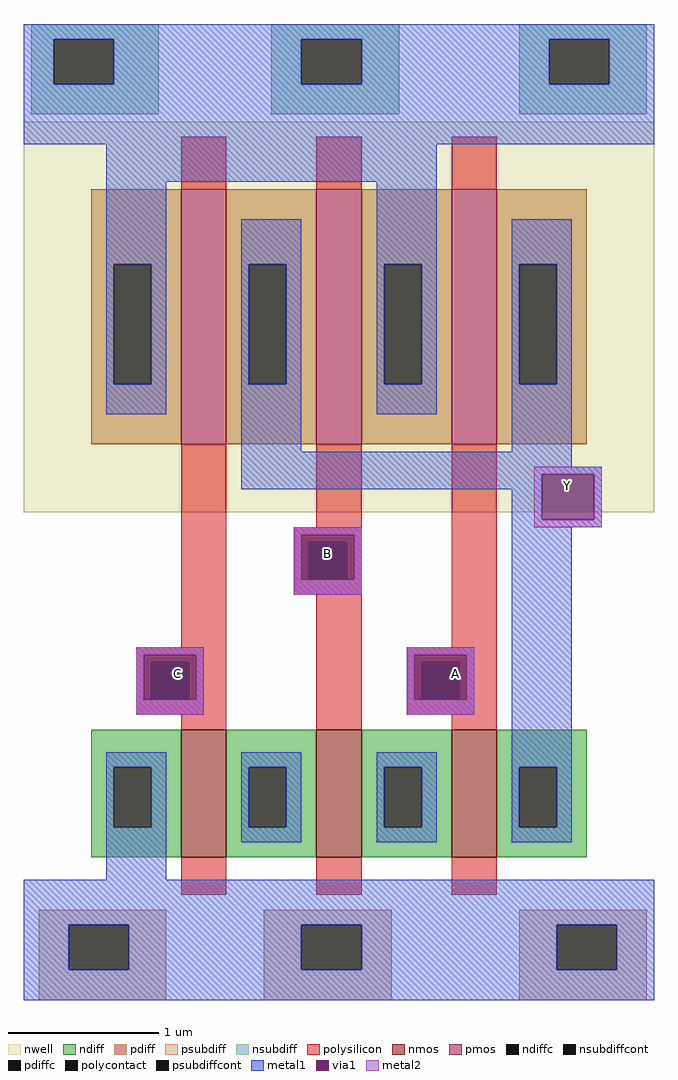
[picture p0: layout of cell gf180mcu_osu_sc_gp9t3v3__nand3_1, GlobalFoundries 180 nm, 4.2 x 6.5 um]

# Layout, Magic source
magic
tech gf180mcuD
<< nwell >>
rect -6 23 78 75
<< nmos >>
rect 15 -23 21 -6
rect 33 -23 39 -6
rect 51 -23 57 -6
<< pmos >>
rect 15 32 21 66
rect 33 32 39 66
rect 51 32 57 66
<< ndiff >>
rect 3 -11 15 -6
rect 3 -19 6 -11
rect 11 -19 15 -11
rect 3 -23 15 -19
rect 21 -11 33 -6
rect 21 -19 24 -11
rect 29 -19 33 -11
rect 21 -23 33 -19
rect 39 -11 51 -6
rect 39 -19 42 -11
rect 47 -19 51 -11
rect 39 -23 51 -19
rect 57 -11 69 -6
rect 57 -19 60 -11
rect 65 -19 69 -11
rect 57 -23 69 -19
<< pdiff >>
rect 3 56 15 66
rect 3 40 6 56
rect 11 40 15 56
rect 3 32 15 40
rect 21 56 33 66
rect 21 40 24 56
rect 29 40 33 56
rect 21 32 33 40
rect 39 56 51 66
rect 39 40 42 56
rect 47 40 51 56
rect 39 32 51 40
rect 57 56 69 66
rect 57 40 60 56
rect 65 40 69 56
rect 57 32 69 40
<< ndiffc >>
rect 6 -19 11 -11
rect 24 -19 29 -11
rect 42 -19 47 -11
rect 60 -19 65 -11
<< pdiffc >>
rect 6 40 11 56
rect 24 40 29 56
rect 42 40 47 56
rect 60 40 65 56
<< psubdiff >>
rect -4 -32 13 -30
rect -4 -38 0 -32
rect 8 -38 13 -32
rect -4 -42 13 -38
rect 26 -32 43 -30
rect 26 -38 31 -32
rect 39 -38 43 -32
rect 26 -42 43 -38
rect 60 -32 77 -30
rect 60 -38 65 -32
rect 73 -38 77 -32
rect 60 -42 77 -38
<< nsubdiff >>
rect -5 86 12 88
rect -5 80 -2 86
rect 6 80 12 86
rect -5 76 12 80
rect 27 86 44 88
rect 27 80 31 86
rect 39 80 44 86
rect 27 76 44 80
rect 60 86 77 88
rect 60 80 64 86
rect 72 80 77 86
rect 60 76 77 80
<< psubdiffcont >>
rect 0 -38 8 -32
rect 31 -38 39 -32
rect 65 -38 73 -32
<< nsubdiffcont >>
rect -2 80 6 86
rect 31 80 39 86
rect 64 80 72 86
<< polysilicon >>
rect 15 66 21 73
rect 33 66 39 73
rect 51 66 57 73
rect 15 5 21 32
rect 33 21 39 32
rect 30 19 39 21
rect 30 14 32 19
rect 37 14 39 19
rect 30 12 39 14
rect 9 3 21 5
rect 9 -2 11 3
rect 16 -2 21 3
rect 9 -4 21 -2
rect 15 -6 21 -4
rect 33 -6 39 12
rect 51 5 57 32
rect 45 3 57 5
rect 45 -2 47 3
rect 52 -2 57 3
rect 45 -4 57 -2
rect 51 -6 57 -4
rect 15 -28 21 -23
rect 33 -28 39 -23
rect 51 -28 57 -23
<< polycontact >>
rect 32 14 37 19
rect 11 -2 16 3
rect 47 -2 52 3
<< metal1 >>
rect -6 86 78 88
rect -6 80 -2 86
rect 6 80 31 86
rect 39 80 64 86
rect 72 80 78 86
rect -6 72 78 80
rect 5 67 49 72
rect 5 56 13 67
rect 5 40 6 56
rect 11 40 13 56
rect 5 36 13 40
rect 23 56 31 62
rect 23 40 24 56
rect 29 40 31 56
rect 23 31 31 40
rect 41 56 49 67
rect 41 40 42 56
rect 47 40 49 56
rect 41 36 49 40
rect 59 56 67 62
rect 59 40 60 56
rect 65 40 67 56
rect 59 31 67 40
rect 23 29 67 31
rect 23 28 71 29
rect 23 26 63 28
rect 59 22 63 26
rect 70 22 71 28
rect 59 21 71 22
rect 30 20 39 21
rect 30 14 31 20
rect 38 14 39 20
rect 30 12 39 14
rect 9 4 18 5
rect 9 -2 10 4
rect 17 -2 18 4
rect 9 -4 18 -2
rect 45 4 54 5
rect 45 -2 46 4
rect 53 -2 54 4
rect 45 -4 54 -2
rect 5 -11 13 -9
rect 5 -19 6 -11
rect 11 -19 13 -11
rect 5 -26 13 -19
rect 23 -11 31 -9
rect 23 -19 24 -11
rect 29 -19 31 -11
rect 23 -21 31 -19
rect 41 -11 49 -9
rect 41 -19 42 -11
rect 47 -19 49 -11
rect 41 -21 49 -19
rect 59 -11 67 21
rect 59 -19 60 -11
rect 65 -19 67 -11
rect 59 -21 67 -19
rect -6 -32 78 -26
rect -6 -38 0 -32
rect 8 -38 31 -32
rect 39 -38 65 -32
rect 73 -38 78 -32
rect -6 -42 78 -38
<< via1 >>
rect 63 22 70 28
rect 31 19 38 20
rect 31 14 32 19
rect 32 14 37 19
rect 37 14 38 19
rect 10 3 17 4
rect 10 -2 11 3
rect 11 -2 16 3
rect 16 -2 17 3
rect 46 3 53 4
rect 46 -2 47 3
rect 47 -2 52 3
rect 52 -2 53 3
<< metal2 >>
rect 62 28 71 29
rect 62 22 63 28
rect 70 22 71 28
rect 62 21 71 22
rect 30 20 39 21
rect 30 14 31 20
rect 38 14 39 20
rect 30 12 39 14
rect 9 4 18 5
rect 9 -2 10 4
rect 17 -2 18 4
rect 9 -4 18 -2
rect 45 4 54 5
rect 45 -2 46 4
rect 53 -2 54 4
rect 45 -4 54 -2
<< labels >>
rlabel metal2 51 1 52 2 1 A
rlabel metal2 34 17 35 18 1 B
rlabel metal2 14 1 15 2 1 C
rlabel via1 66 26 67 27 1 Y
<< end >>
